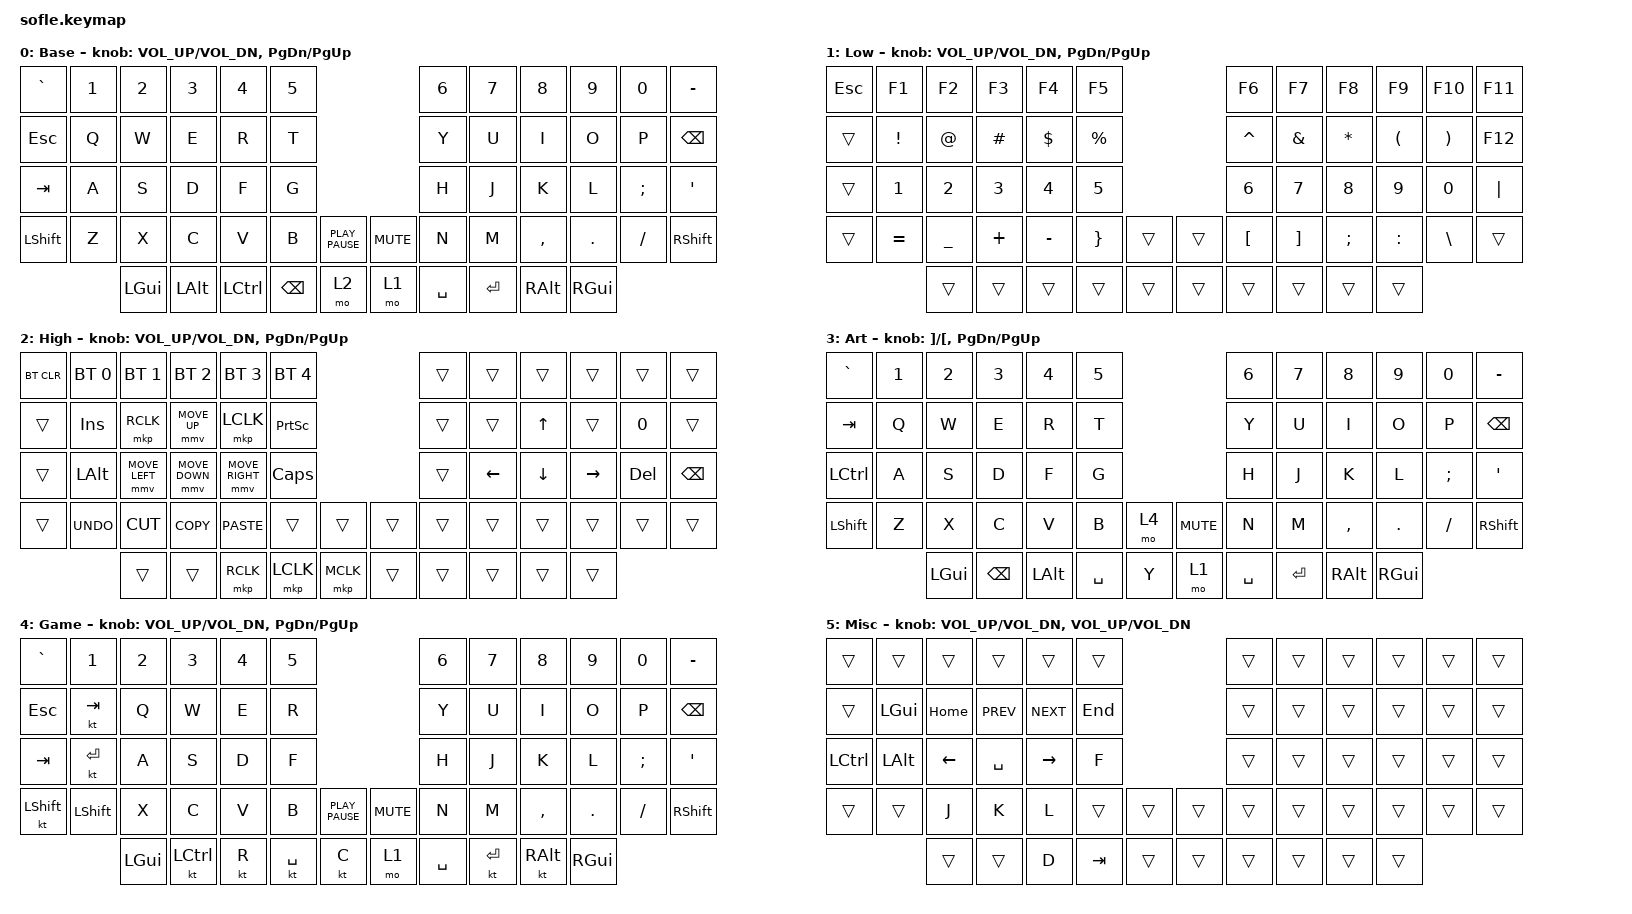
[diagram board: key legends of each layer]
/*
 * Copyright (c) 2020 The ZMK Contributors
 *
 * SPDX-License-Identifier: MIT
 */

#include <behaviors.dtsi>
#include <dt-bindings/zmk/bt.h>
#include <dt-bindings/zmk/keys.h>
#include <dt-bindings/zmk/pointing.h>

/ {
    combos {
        compatible = "zmk,combos";

        L_Shift {
            bindings = <&kp LEFT_SHIFT>;
            key-positions = <27 28>;
            layers = <0 1 2 3>;
        };

        R_Shift {
            bindings = <&kp LEFT_SHIFT>;
            key-positions = <31 32>;
        };

        R_Enter {
            bindings = <&kp ENTER>;
            key-positions = <32 33>;
        };

        To_Art {
            bindings = <&to 3>;
            key-positions = <1 2 3 4>;
        };

        To_Gaming {
            bindings = <&to 4>;
            key-positions = <2 3 4 5>;
        };

        L_Alt {
            bindings = <&kp LEFT_ALT>;
            key-positions = <27 28 53>;
            layers = <0 1 2 3>;
        };

        To_High {
            bindings = <&to 2>;
            key-positions = <25 28 27 26>;
        };

        Undo {
            bindings = <&Undo>;
            key-positions = <27 53>;
            layers = <0 1 2 3>;
        };

        Redo {
            bindings = <&Redo>;
            key-positions = <26 27 53>;
            layers = <0 1 2 3>;
        };

        L_Ctrl {
            bindings = <&kp LCTRL>;
            key-positions = <37 38>;
            layers = <0 1 2 3>;
        };

        Escape {
            bindings = <&kp ESCAPE>;
            key-positions = <13 14>;
            layers = <0 1 2 3>;
        };

        To_Low {
            bindings = <&to 1>;
            key-positions = <31 32 33 34>;
        };

        L_Ctrl2 {
            bindings = <&kp LEFT_CONTROL>;
            key-positions = <26 27>;
            layers = <0 1 2 3>;
        };

        To_Base {
            bindings = <&to 0>;
            key-positions = <13 14 15 16>;
        };

        PausePlay {
            bindings = <&kp C_PLAY_PAUSE>;
            key-positions = <14 15>;
            layers = <0 1 2 3 5>;
        };

        Scroll_Down {
            bindings = <&msc SCRL_DOWN>;
            key-positions = <26 27 28 25 53>;
        };

        Scroll_Up {
            bindings = <&msc SCRL_UP>;
            key-positions = <26 27 28 25 54>;
        };

        Toggle_Misc {
            bindings = <&tog 5>;
            key-positions = <26 28 53 27>;
            layers = <0 1 2 3 5>;
        };

        Previous {
            bindings = <&Previous>;
            key-positions = <14 25>;
            layers = <0 1 2 3 5>;
        };

        Next {
            bindings = <&Next>;
            key-positions = <15 16>;
            layers = <0 1 2 3 5>;
        };

        Quit {
            bindings = <&Quit>;
            key-positions = <0 1 12 13 24 25 36 37>;
        };

        Minimize {
            bindings = <&Minimize>;
            key-positions = <50 51 52>;
        };

        Maximize {
            bindings = <&Maximize>;
            key-positions = <50 51>;
        };

        Save {
            bindings = <&Save>;
            key-positions = <12 24 36>;
        };

        Page_Down {
            bindings = <&kp PAGE_DOWN>;
            key-positions = <38 39 40 37 53>;
        };

        Page_Up {
            bindings = <&kp PAGE_UP>;
            key-positions = <38 39 40 37 54>;
        };
    };

    macros {
        Previous: Previous {
            compatible = "zmk,behavior-macro";
            #binding-cells = <0>;
            bindings = <&kp LC(LEFT)>;
            label = "PREVIOUS";
        };

        Next: Next {
            compatible = "zmk,behavior-macro";
            #binding-cells = <0>;
            bindings = <&kp LC(RIGHT)>;
            label = "NEXT";
        };

        Undo: Undo {
            compatible = "zmk,behavior-macro";
            #binding-cells = <0>;
            bindings = <&kp LC(Z)>;
            label = "UNDO";
        };

        Redo: Redo {
            compatible = "zmk,behavior-macro";
            #binding-cells = <0>;
            bindings = <&kp LC(Y)>;
            label = "REDO";
        };

        Quit: Quit {
            compatible = "zmk,behavior-macro";
            #binding-cells = <0>;
            bindings = <&kp LA(F4)>;
            label = "QUIT";
        };

        Minimize: Minimize {
            compatible = "zmk,behavior-macro";
            #binding-cells = <0>;
            bindings = <&kp LG(DOWN)>;
            label = "MINIMIZE";
        };

        Maximize: Maximize {
            compatible = "zmk,behavior-macro";
            #binding-cells = <0>;
            bindings = <&kp LG(UP_ARROW)>;
            label = "MAXIMIZE";
        };

        Save: Save {
            compatible = "zmk,behavior-macro";
            #binding-cells = <0>;
            bindings = <&kp LC(S)>;
            label = "SAVE";
        };
    };

    keymap {
        compatible = "zmk,keymap";

        Base {
            bindings = <
&kp GRAVE  &kp N1  &kp N2        &kp N3    &kp N4     &kp N5                                    &kp N6     &kp N7     &kp N8     &kp N9    &kp N0    &kp MINUS
&kp ESC    &kp Q   &kp W         &kp E     &kp R      &kp T                                     &kp Y      &kp U      &kp I      &kp O     &kp P     &kp BSPC
&kp TAB    &kp A   &kp S         &kp D     &kp F      &kp G                                     &kp H      &kp J      &kp K      &kp L     &kp SEMI  &kp SQT
&kp LSHFT  &kp Z   &kp X         &kp C     &kp V      &kp B     &kp K_PLAY_PAUSE    &kp K_MUTE  &kp N      &kp M      &kp COMMA  &kp DOT   &kp FSLH  &kp RSHFT
                   &kp LEFT_GUI  &kp LALT  &kp LCTRL  &kp BSPC  &mo 2               &mo 1       &kp SPACE  &kp ENTER  &kp RALT   &kp RGUI
            >;

            sensor-bindings =
                <&inc_dec_kp C_VOL_UP C_VOL_DN>,
                <&inc_dec_kp PAGE_DOWN PAGE_UP>;

            label = "Base";
        };

        Low {
            bindings = <
&kp ESC  &kp F1           &kp F2       &kp F3    &kp F4      &kp F5                         &kp F6     &kp F7         &kp F8        &kp F9                &kp F10                &kp F11
&trans   &kp EXCLAMATION  &kp AT_SIGN  &kp HASH  &kp DOLLAR  &kp PERCENT                    &kp CARET  &kp AMPERSAND  &kp ASTERISK  &kp LEFT_PARENTHESIS  &kp RIGHT_PARENTHESIS  &kp F12
&trans   &kp N1           &kp N2       &kp N3    &kp N4      &kp N5                         &kp N6     &kp N7         &kp N8        &kp N9                &kp N0                 &kp PIPE
&trans   &kp EQUAL        &kp UNDER    &kp PLUS  &kp MINUS   &kp RBRC     &trans    &trans  &kp LBKT   &kp RBKT       &kp SEMI      &kp COLON             &kp BSLH               &trans
                          &trans       &trans    &trans      &trans       &trans    &trans  &trans     &trans         &trans        &trans
            >;

            sensor-bindings =
                <&inc_dec_kp C_VOL_UP C_VOL_DN>,
                <&inc_dec_kp PAGE_DOWN PAGE_UP>;

            label = "Low";
        };

        High {
            bindings = <
&bt BT_CLR  &bt BT_SEL 0  &bt BT_SEL 1    &bt BT_SEL 2    &bt BT_SEL 3     &bt BT_SEL 4                          &trans  &trans    &trans    &trans     &trans   &trans
&trans      &kp INS       &mkp RCLK       &mmv MOVE_UP    &mkp LCLK        &kp PRINTSCREEN                       &trans  &trans    &kp UP    &trans     &kp N0   &trans
&trans      &kp LALT      &mmv MOVE_LEFT  &mmv MOVE_DOWN  &mmv MOVE_RIGHT  &kp CLCK                              &trans  &kp LEFT  &kp DOWN  &kp RIGHT  &kp DEL  &kp BSPC
&trans      &kp K_UNDO    &kp K_CUT       &kp K_COPY      &kp K_PASTE      &trans           &trans       &trans  &trans  &trans    &trans    &trans     &trans   &trans
                          &trans          &trans          &mkp RCLK        &mkp LCLK        &mkp MCLK    &trans  &trans  &trans    &trans    &trans
            >;

            sensor-bindings =
                <&inc_dec_kp C_VOL_UP C_VOL_DN>,
                <&inc_dec_kp PAGE_DOWN PAGE_UP>;

            label = "High";
        };

        Art {
            bindings = <
&kp GRAVE  &kp N1  &kp N2        &kp N3    &kp N4    &kp N5                          &kp N6     &kp N7     &kp N8     &kp N9    &kp N0    &kp MINUS
&kp TAB    &kp Q   &kp W         &kp E     &kp R     &kp T                           &kp Y      &kp U      &kp I      &kp O     &kp P     &kp BSPC
&kp LCTRL  &kp A   &kp S         &kp D     &kp F     &kp G                           &kp H      &kp J      &kp K      &kp L     &kp SEMI  &kp SQT
&kp LSHFT  &kp Z   &kp X         &kp C     &kp V     &kp B      &mo 4    &kp K_MUTE  &kp N      &kp M      &kp COMMA  &kp DOT   &kp FSLH  &kp RSHFT
                   &kp LEFT_GUI  &kp BSPC  &kp LALT  &kp SPACE  &kp Y    &mo 1       &kp SPACE  &kp ENTER  &kp RALT   &kp RGUI
            >;

            sensor-bindings =
                <&inc_dec_kp RIGHT_BRACKET LEFT_BRACKET>,
                <&inc_dec_kp PAGE_DOWN PAGE_UP>;

            label = "Art";
        };

        Game {
            bindings = <
&kp GRAVE  &kp N1     &kp N2        &kp N3     &kp N4  &kp N5                                     &kp N6     &kp N7     &kp N8     &kp N9    &kp N0    &kp MINUS
&kp ESC    &kt TAB    &kp Q         &kp W      &kp E   &kp R                                      &kp Y      &kp U      &kp I      &kp O     &kp P     &kp BSPC
&kp TAB    &kt RET    &kp A         &kp S      &kp D   &kp F                                      &kp H      &kp J      &kp K      &kp L     &kp SEMI  &kp SQT
&kt LSHFT  &kp LSHFT  &kp X         &kp C      &kp V   &kp B      &kp K_PLAY_PAUSE    &kp K_MUTE  &kp N      &kp M      &kp COMMA  &kp DOT   &kp FSLH  &kp RSHFT
                      &kp LEFT_GUI  &kt LCTRL  &kt R   &kt SPACE  &kt C               &mo 1       &kp SPACE  &kt ENTER  &kt RALT   &kp RGUI
            >;

            sensor-bindings =
                <&inc_dec_kp C_VOL_UP C_VOL_DN>,
                <&inc_dec_kp PAGE_DOWN PAGE_UP>;

            label = "Game";
        };

        Misc {
            bindings = <
&trans     &trans        &trans    &trans      &trans      &trans                     &trans  &trans  &trans  &trans  &trans  &trans
&trans     &kp LEFT_GUI  &kp HOME  &kp C_PREV  &kp C_NEXT  &kp END                    &trans  &trans  &trans  &trans  &trans  &trans
&kp LCTRL  &kp LALT      &kp LEFT  &kp SPACE   &kp RIGHT   &kp F                      &trans  &trans  &trans  &trans  &trans  &trans
&trans     &trans        &kp J     &kp K       &kp L       &trans   &trans    &trans  &trans  &trans  &trans  &trans  &trans  &trans
                         &trans    &trans      &kp D       &kp TAB  &trans    &trans  &trans  &trans  &trans  &trans
            >;

            sensor-bindings =
                <&inc_dec_kp C_VOLUME_UP C_VOL_DN>,
                <&inc_dec_kp C_VOL_UP C_VOL_DN>;

            label = "Misc";
        };
    };
};
